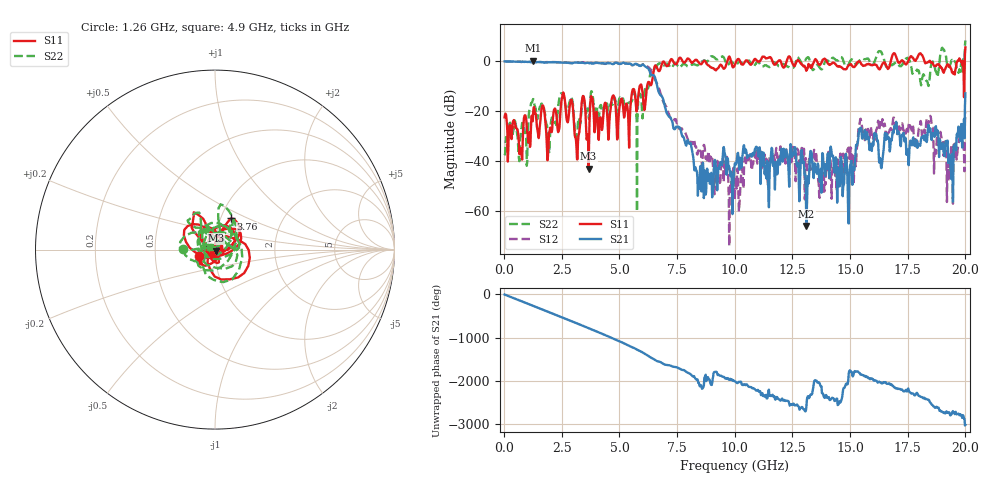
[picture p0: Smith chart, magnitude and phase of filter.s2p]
# MHz MA S R 50.0
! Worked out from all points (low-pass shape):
!   1000 points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, 20 MHz to 20 GHz, reference 50 ohm
!   highest |S21| = 0.27 dB at 1.26 GHz (marker M1); lowest = -65.9 dB at 13.1 GHz (marker M2)
!   |S21| within 3 dB of the highest: start of sweep to 6.233 GHz
!   lowest |S11| = -42.9 dB at 3.66 GHz (marker M3), VSWR 1.01, Z = 50.5 - j0.519 ohm
!   |S11| at or under -10 dB: start of sweep to 5.876 GHz; 5.962 GHz to 6.198 GHz (236.7 MHz wide, 3.89 % of centre); 19.93284 GHz to 19.95077 GHz (17.93 MHz wide, 0.0899 % of centre)
!   |S22| runs from -60.2 to 8.4 dB; largest |S21 - S12| = 0.18
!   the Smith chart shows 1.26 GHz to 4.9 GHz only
!   S11 on the Smith chart (normalised r, x): 1.26 GHz: 0.83, -0.06; 3.76 GHz: 1.11, +0.40; 4.9 GHz: 0.97, -0.05
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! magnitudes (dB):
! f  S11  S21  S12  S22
! 20 MHz  -22.4  0.0  0.0  -36.9
! 700 MHz  -35.5  -0.2  -0.1  -30.7
! 1.26 GHz  -20.4  0.3  0.5  -15.1
! 1.92 GHz  -33.4  -0.4  -0.3  -32.9
! 2.56 GHz  -12.4  -0.5  -0.4  -13.0
! 3.16 GHz  -39.2  -0.5  -0.5  -28.7
! 3.36 GHz  -17.0  -0.5  -0.4  -17.9
! 3.66 GHz  -42.9  -0.6  -0.7  -22.0
! 3.76 GHz  -14.2  -0.7  -0.6  -12.7
! 4.9 GHz  -31.2  -0.7  -0.6  -30.4
! 6.68 GHz  -3.7  -11.6  -10.1  -1.1
! 8.48 GHz  -0.9  -46.6  -36.4  -0.7
! 10.02 GHz  -1.0  -40.8  -49.9  -1.4
! 12.52 GHz  -1.1  -36.7  -34.2  -2.6
! 13.1 GHz  -3.7  -65.9  -41.4  1.1
! 13.34 GHz  -2.4  -37.0  -38.4  -2.5
! 15 GHz  -1.2  -41.5  -38.7  0.1
! 15.42 GHz  -0.2  -27.4  -24.5  0.5
! 16.68 GHz  -2.6  -30.4  -28.9  -1.7
! 18.42 GHz  -0.1  -26.7  -24.0  -8.9
! 19.36 GHz  -2.8  -41.3  -42.2  -0.8
! 20 GHz  5.6  -12.8  -20.4  8.4
